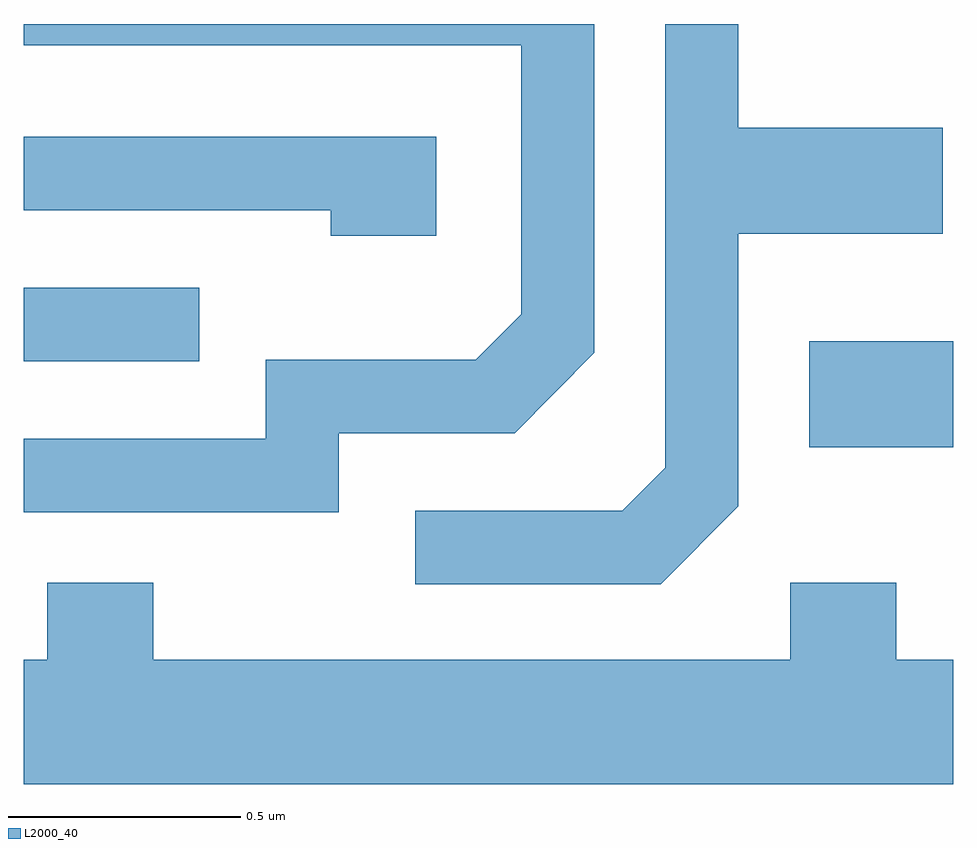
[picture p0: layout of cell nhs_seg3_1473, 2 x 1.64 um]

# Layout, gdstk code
import gdstk
lib = gdstk.Library(unit=1e-6, precision=1e-09)
def R(c, l, rs):  # rectangles x0, y0, x1, y1
    for r in rs: c.add(gdstk.rectangle(r[:2], r[2:], *l))
def P(c, l, *ps):  # polygons
    for p in ps: c.add(gdstk.Polygon(p, *l))
L2000_40 = (2000, 40)

nhs_seg3_1473 = lib.new_cell('nhs_seg3_1473')
R(nhs_seg3_1473, L2000_40, [(197.301,1219.981,197.611,1220.209), (195.611,1220.166,195.988,1220.324)])
P(nhs_seg3_1473, L2000_40, [(196.289,1220.011),(196.667,1220.011),(196.839,1220.184),(196.839,1220.892),(195.611,1220.892),(195.611,1220.846),(196.681,1220.846),(196.681,1220.267),(196.584,1220.169),(196.131,1220.169),(196.131,1219.999),(195.611,1219.999),(195.611,1219.841),(196.289,1219.841)],
  [(197.149,1219.854),(197.149,1220.441),(197.589,1220.441),(197.589,1220.669),(197.149,1220.669),(197.149,1220.892),(196.991,1220.892),(196.991,1219.937),(196.899,1219.844),(196.453,1219.844),(196.453,1219.686),(196.982,1219.686)],
  [(196.499,1220.649),(195.611,1220.649),(195.611,1220.491),(196.271,1220.491),(196.271,1220.436),(196.499,1220.436)],
  [(197.611,1219.524),(197.489,1219.524),(197.489,1219.689),(197.261,1219.689),(197.261,1219.524),(195.889,1219.524),(195.889,1219.689),(195.661,1219.689),(195.661,1219.524),(195.611,1219.524),(195.611,1219.256),(197.611,1219.256)])

lib.write_gds('nhs_seg3_1473.gds')
